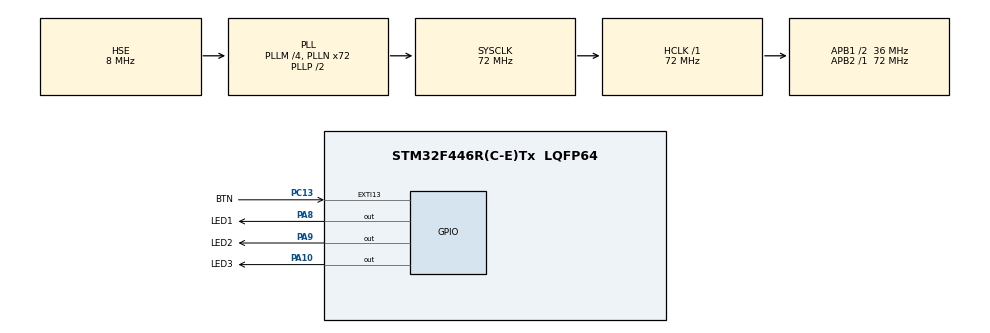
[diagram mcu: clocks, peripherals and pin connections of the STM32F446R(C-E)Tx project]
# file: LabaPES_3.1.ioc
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FREERTOS.Tasks01=defaultTask,0,128,StartDefaultTask,Default,NULL,Dynamic,NULL,NULL
Mcu.Family=STM32F4
Mcu.Name=STM32F446R(C-E)Tx
Mcu.Package=LQFP64
NVIC.EXTI15_10_IRQn=true\:5\:0\:false\:false\:true\:true\:true\:true
NVIC.PriorityGroup=NVIC_PRIORITYGROUP_4
NVIC.TIM1_UP_TIM10_IRQn=true\:15\:0\:false\:false\:true\:false\:false\:true
NVIC.TimeBase=TIM1_UP_TIM10_IRQn
NVIC.TimeBaseIP=TIM1
PA10.GPIO_Label=LED3
PA10.Signal=GPIO_Output
PA8.GPIO_Label=LED1
PA8.Signal=GPIO_Output
PA9.GPIO_Label=LED2
PA9.Signal=GPIO_Output
PC13.GPIO_Label=BTN
PC13.GPIO_PuPd=GPIO_PULLDOWN
PC13.Signal=GPXTI13
PH0-OSC_IN.Mode=HSE-External-Oscillator
PH0-OSC_IN.Signal=RCC_OSC_IN
PH1-OSC_OUT.Mode=HSE-External-Oscillator
PH1-OSC_OUT.Signal=RCC_OSC_OUT
ProjectManager.HeapSize=0x200
ProjectManager.StackSize=0x400
ProjectManager.TargetToolchain=STM32CubeIDE
RCC.48MHZClocksFreq_Value=84000000
RCC.AHBFreq_Value=72000000
RCC.APB1CLKDivider=RCC_HCLK_DIV2
RCC.APB1Freq_Value=36000000
RCC.APB1TimFreq_Value=72000000
RCC.APB2Freq_Value=72000000
RCC.APB2TimFreq_Value=72000000
RCC.CortexFreq_Value=72000000
RCC.FLatency-AdvancedSettings=FLASH_LATENCY_2
RCC.HCLKFreq_Value=72000000
RCC.HSE_VALUE=8000000
RCC.HSI_VALUE=16000000
RCC.PLLM=4
RCC.PLLN=72
RCC.PLLSourceVirtual=RCC_PLLSOURCE_HSE
RCC.SYSCLKFreq_VALUE=72000000
RCC.SYSCLKSource=RCC_SYSCLKSOURCE_PLLCLK
RCC.USBFreq_Value=72000000
RCC.VCOOutputFreq_Value=144000000
VP_FREERTOS_VS_CMSIS_V1.Mode=CMSIS_V1
VP_SYS_VS_tim1.Mode=TIM1
board=NUCLEO-F446RE

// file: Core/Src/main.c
/* USER CODE BEGIN Header */
/**
  ******************************************************************************
  * @file           : main.c
  * @brief          : Main program body
  ******************************************************************************
  * @attention
  *
  * Copyright (c) 2022 STMicroelectronics.
  * All rights reserved.
  *
  * This software is licensed under terms that can be found in the LICENSE file
  * in the root directory of this software component.
  * If no LICENSE file comes with this software, it is provided AS-IS.
  *
  ******************************************************************************
  */
/* USER CODE END Header */
#include "main.h"
#include "cmsis_os.h"

osThreadId defaultTaskHandle;
/* USER CODE BEGIN PV */
uint8_t flag_btn = 0;
uint8_t flag_irq = 1;
/* USER CODE END PV */

void SystemClock_Config(void);
static void MX_GPIO_Init(void);
void StartDefaultTask(void const * argument);

/* USER CODE BEGIN 0 */
SemaphoreHandle_t xSemaphore;

void ButtonPress(void *argument);
void LedBlink(void *argument);

/* USER CODE END 0 */

int main(void)
{

  /* MCU Configuration--------------------------------------------------------*/

  /* Reset of all peripherals, Initializes the Flash interface and the Systick. */
  HAL_Init();

  /* Configure the system clock */
  SystemClock_Config();

  /* Initialize all configured peripherals */
  MX_GPIO_Init();

  /* USER CODE BEGIN RTOS_SEMAPHORES */
  /* add semaphores, ... */
  xSemaphore = xSemaphoreCreateBinary();
  /* USER CODE END RTOS_SEMAPHORES */

  /* Create the thread(s) */
  /* definition and creation of defaultTask */
  osThreadDef(defaultTask, StartDefaultTask, osPriorityNormal, 0, 128);
  defaultTaskHandle = osThreadCreate(osThread(defaultTask), NULL);

  /* USER CODE BEGIN RTOS_THREADS */
  /* add threads, ... */
  if (xSemaphore != NULL)
  {
	  xTaskCreate(ButtonPress, "Button", 128, NULL, 2, NULL);
	  xTaskCreate(LedBlink, "LED", 128, NULL, 1, NULL);
  }
  /* USER CODE END RTOS_THREADS */

  /* Start scheduler */
  osKernelStart();

  /* We should never get here as control is now taken by the scheduler */
  /* Infinite loop */
  while (1)
  {

  }
}

void SystemClock_Config(void)
{
  RCC_OscInitTypeDef RCC_OscInitStruct = {0};
  RCC_ClkInitTypeDef RCC_ClkInitStruct = {0};

  /** Configure the main internal regulator output voltage
  */
  __HAL_RCC_PWR_CLK_ENABLE();
  __HAL_PWR_VOLTAGESCALING_CONFIG(PWR_REGULATOR_VOLTAGE_SCALE3);
  /** Initializes the RCC Oscillators according to the specified parameters
  * in the RCC_OscInitTypeDef structure.
  */
  RCC_OscInitStruct.OscillatorType = RCC_OSCILLATORTYPE_HSE;
  RCC_OscInitStruct.HSEState = RCC_HSE_ON;
  RCC_OscInitStruct.PLL.PLLState = RCC_PLL_ON;
  RCC_OscInitStruct.PLL.PLLSource = RCC_PLLSOURCE_HSE;
  RCC_OscInitStruct.PLL.PLLM = 4;
  RCC_OscInitStruct.PLL.PLLN = 72;
  RCC_OscInitStruct.PLL.PLLP = RCC_PLLP_DIV2;
  RCC_OscInitStruct.PLL.PLLQ = 2;
  RCC_OscInitStruct.PLL.PLLR = 2;
  if (HAL_RCC_OscConfig(&RCC_OscInitStruct) != HAL_OK)
  {
    Error_Handler();
  }
  /** Initializes the CPU, AHB and APB buses clocks
  */
  RCC_ClkInitStruct.ClockType = RCC_CLOCKTYPE_HCLK|RCC_CLOCKTYPE_SYSCLK
                              |RCC_CLOCKTYPE_PCLK1|RCC_CLOCKTYPE_PCLK2;
  RCC_ClkInitStruct.SYSCLKSource = RCC_SYSCLKSOURCE_PLLCLK;
  RCC_ClkInitStruct.AHBCLKDivider = RCC_SYSCLK_DIV1;
  RCC_ClkInitStruct.APB1CLKDivider = RCC_HCLK_DIV2;
  RCC_ClkInitStruct.APB2CLKDivider = RCC_HCLK_DIV1;

  if (HAL_RCC_ClockConfig(&RCC_ClkInitStruct, FLASH_LATENCY_2) != HAL_OK)
  {
    Error_Handler();
  }
}

static void MX_GPIO_Init(void)
{
  GPIO_InitTypeDef GPIO_InitStruct = {0};

  /* GPIO Ports Clock Enable */
  __HAL_RCC_GPIOC_CLK_ENABLE();
  __HAL_RCC_GPIOH_CLK_ENABLE();
  __HAL_RCC_GPIOA_CLK_ENABLE();

  /*Configure GPIO pin Output Level */
  HAL_GPIO_WritePin(GPIOA, LED1_Pin|LED2_Pin|LED3_Pin, GPIO_PIN_RESET);

  /*Configure GPIO pin : BTN_Pin */
  GPIO_InitStruct.Pin = BTN_Pin;
  GPIO_InitStruct.Mode = GPIO_MODE_IT_RISING;
  GPIO_InitStruct.Pull = GPIO_PULLDOWN;
  HAL_GPIO_Init(BTN_GPIO_Port, &GPIO_InitStruct);

  /*Configure GPIO pins : LED1_Pin LED2_Pin LED3_Pin */
  GPIO_InitStruct.Pin = LED1_Pin|LED2_Pin|LED3_Pin;
  GPIO_InitStruct.Mode = GPIO_MODE_OUTPUT_PP;
  GPIO_InitStruct.Pull = GPIO_NOPULL;
  GPIO_InitStruct.Speed = GPIO_SPEED_FREQ_LOW;
  HAL_GPIO_Init(GPIOA, &GPIO_InitStruct);

  /* EXTI interrupt init*/
  HAL_NVIC_SetPriority(EXTI15_10_IRQn, 5, 0);
  HAL_NVIC_EnableIRQ(EXTI15_10_IRQn);

}

/* USER CODE BEGIN 4 */
void LedBlink(void *argument)
{
	while(1)
	{
		switch(flag_btn)
		{
			case 0:
				HAL_GPIO_WritePin(GPIOA, LED1_Pin, GPIO_PIN_RESET);
				HAL_GPIO_WritePin(GPIOA, LED2_Pin, GPIO_PIN_RESET);
				HAL_GPIO_WritePin(GPIOA, LED3_Pin, GPIO_PIN_RESET);
				break;
			case 1:
				HAL_GPIO_WritePin(GPIOA, LED1_Pin, GPIO_PIN_RESET);
				HAL_GPIO_WritePin(GPIOA, LED2_Pin, GPIO_PIN_RESET);
				HAL_GPIO_WritePin(GPIOA, LED3_Pin, GPIO_PIN_SET);
				break;
			case 2:
				HAL_GPIO_WritePin(GPIOA, LED1_Pin, GPIO_PIN_RESET);
				HAL_GPIO_WritePin(GPIOA, LED2_Pin, GPIO_PIN_SET);
				HAL_GPIO_WritePin(GPIOA, LED3_Pin, GPIO_PIN_RESET);
				break;
			case 3:
				HAL_GPIO_WritePin(GPIOA, LED1_Pin, GPIO_PIN_RESET);
				HAL_GPIO_WritePin(GPIOA, LED2_Pin, GPIO_PIN_SET);
				HAL_GPIO_WritePin(GPIOA, LED3_Pin, GPIO_PIN_SET);
				break;
			case 4:
				HAL_GPIO_WritePin(GPIOA, LED1_Pin, GPIO_PIN_SET);
				HAL_GPIO_WritePin(GPIOA, LED2_Pin, GPIO_PIN_RESET);
				HAL_GPIO_WritePin(GPIOA, LED3_Pin, GPIO_PIN_RESET);
				break;
			case 5:
				HAL_GPIO_WritePin(GPIOA, LED1_Pin, GPIO_PIN_SET);
				HAL_GPIO_WritePin(GPIOA, LED2_Pin, GPIO_PIN_RESET);
				HAL_GPIO_WritePin(GPIOA, LED3_Pin, GPIO_PIN_SET);
				break;
			case 6:
				HAL_GPIO_WritePin(GPIOA, LED1_Pin, GPIO_PIN_SET);
				HAL_GPIO_WritePin(GPIOA, LED2_Pin, GPIO_PIN_SET);
				HAL_GPIO_WritePin(GPIOA, LED3_Pin, GPIO_PIN_RESET);
				break;
			case 7:
				HAL_GPIO_WritePin(GPIOA, LED1_Pin, GPIO_PIN_SET);
				HAL_GPIO_WritePin(GPIOA, LED2_Pin, GPIO_PIN_SET);
				HAL_GPIO_WritePin(GPIOA, LED3_Pin, GPIO_PIN_SET);
				break;
		}
	}
}

void ButtonPress(void *argument)
{
	while(1)
	{
		if (xSemaphoreTake(xSemaphore, portMAX_DELAY) == pdPASS)
		{
			osDelay(150);
			flag_btn++;
			if (flag_btn > 7) flag_btn = 0;
			flag_irq = 1;
		}
	}
}

void HAL_GPIO_EXTI_Callback(uint16_t GPIO_Pin)
{
	static BaseType_t xHigherPriorityTaskWoken;
	if (GPIO_Pin == BTN_Pin)
	{
		if (flag_irq == 1)
		{
			flag_irq = 0;
			xHigherPriorityTaskWoken = pdFALSE;
			xSemaphoreGiveFromISR(xSemaphore, &xHigherPriorityTaskWoken);
			portYIELD_FROM_ISR(xHigherPriorityTaskWoken);
		}
	}
}

/* USER CODE END 4 */

void StartDefaultTask(void const * argument)
{
  for(;;)
  {
    osDelay(1);
  }
}

void HAL_TIM_PeriodElapsedCallback(TIM_HandleTypeDef *htim)
{
  if (htim->Instance == TIM1) {
    HAL_IncTick();
  }
}

void Error_Handler(void)
{
  __disable_irq();
  while (1)
  {
  }
}
